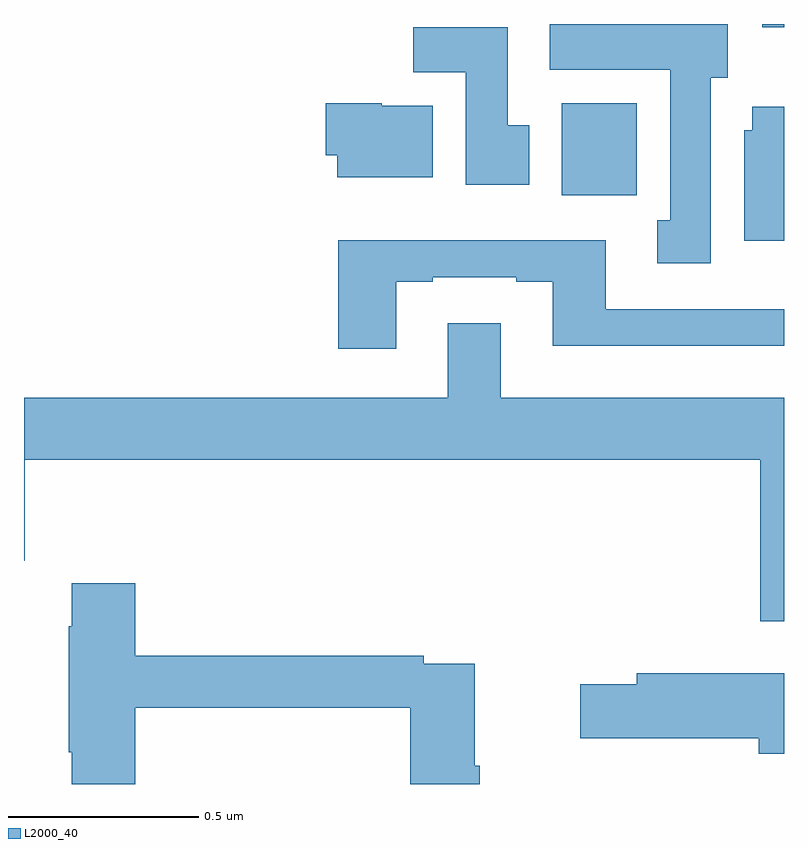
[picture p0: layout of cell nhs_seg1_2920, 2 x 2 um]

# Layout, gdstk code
import gdstk
lib = gdstk.Library(unit=1e-6, precision=1e-09)
def R(c, l, rs):  # rectangles x0, y0, x1, y1
    for r in rs: c.add(gdstk.rectangle(r[:2], r[2:], *l))
def P(c, l, *ps):  # polygons
    for p in ps: c.add(gdstk.Polygon(p, *l))
L2000_40 = (2000, 40)

nhs_seg1_2920 = lib.new_cell('nhs_seg1_2920')
R(nhs_seg1_2920, L2000_40, [(148.415,565.748,148.612,565.99), (148.943,566.19,149,566.199)])
P(nhs_seg1_2920, L2000_40, [(148.807,566.058),(148.852,566.058),(148.852,566.199),(148.383,566.199),(148.383,566.078),(148.7,566.078),(148.7,565.682),(148.667,565.682),(148.667,565.569),(148.807,565.569)],
  [(148.33,565.932),(148.273,565.932),(148.273,566.191),(148.024,566.191),(148.024,566.072),(148.163,566.072),(148.163,565.776),(148.33,565.776)],
  [(148.075,565.984),(147.942,565.984),(147.942,565.99),(147.794,565.99),(147.794,565.854),(147.824,565.854),(147.824,565.796),(148.075,565.796)],
  [(149,565.981),(148.916,565.981),(148.916,565.92),(148.895,565.92),(148.895,565.628),(149,565.628)],
  [(147.979,565.521),(148.075,565.521),(148.075,565.533),(148.295,565.533),(148.295,565.521),(148.391,565.521),(148.391,565.352),(149,565.352),(149,565.449),(148.531,565.449),(148.531,565.63),(147.827,565.63),(147.827,565.344),(147.979,565.344)],
  [(149,565.216),(148.255,565.216),(148.255,565.411),(148.115,565.411),(148.115,565.216),(147,565.216),(147,564.787),(147.002,564.787),(147.002,565.052),(148.937,565.052),(148.937,564.627),(149,564.627)],
  [(147.293,564.4),(148.016,564.4),(148.016,564.199),(148.199,564.199),(148.199,564.247),(148.186,564.247),(148.186,564.516),(148.052,564.516),(148.052,564.536),(147.293,564.536),(147.293,564.727),(147.125,564.727),(147.125,564.614),(147.118,564.614),(147.118,564.283),(147.125,564.283),(147.125,564.199),(147.293,564.199)],
  [(149,564.49),(148.938,564.49),(148.938,564.491),(148.613,564.491),(148.613,564.461),(148.464,564.461),(148.464,564.319),(148.934,564.319),(148.934,564.278),(149,564.278)])

lib.write_gds('nhs_seg1_2920.gds')
